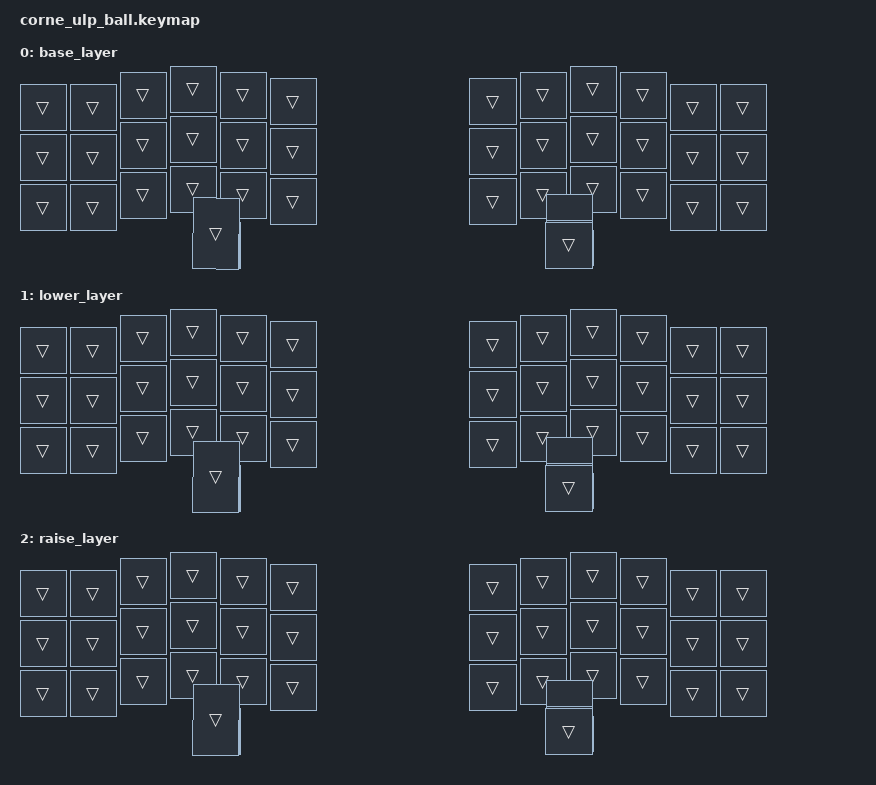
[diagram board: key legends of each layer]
// This file was generated from a template. Edit it to match your keyboard.
// See https://zmk.dev/docs/development/hardware-integration/new-shield for more instructions.

#include <behaviors.dtsi>
#include <dt-bindings/zmk/keys.h>
#include <dt-bindings/zmk/bt.h>

/ {
    // Define a default keymap here.
    // See https://zmk.dev/docs/development/hardware-integration/new-shield#default-keymap.
    keymap {
        compatible = "zmk,keymap";

        base_layer {
            //base-name = "Base";
// -----------------------------------------------------------------------------------------
// |  TAB |  Q  |  W  |  E  |  R  |  T  |   |  Y  |  U   |  I  |  O  |  P  | BSPC |
// | CTRL |  A  |  S  |  D  |  F  |  G  |   |  H  |  J   |  K  |  L  |  ;  |  '   |
// | SHFT |  Z  |  X  |  C  |  V  |  B  |   |  N  |  M   |  ,  |  .  |  /  | SHFT |
//                    | ALT | GUI | SPC/LOW |   | ENT | GUI  | ALT |
            bindings = <
                &trans &trans &trans &trans &trans &trans &trans &trans &trans &trans &trans &trans
                &trans &trans &trans &trans &trans &trans &trans &trans &trans &trans &trans &trans
                &trans &trans &trans &trans &trans &trans &trans &trans &trans &trans &trans &trans
                &trans &trans &trans &trans &trans &trans
            >;
        };
        lower_layer {
            //display-name = "Lower";
// -----------------------------------------------------------------------------------------
// |  TAB |  1  |  2  |  3  |  4  |  5  |   |  6  |  7  |  8  |  9  |  0  | EJECT |
// | BTCLR| BT1 | BT2 | BT3 | BT4 | BT5 |   | LFT | DWN |  UP | RGT |     |     |
// | SHFT |     |     |     |     |     |   |     |     |     |     |     |     |
//                    | GUI |     | SPC |   | ENT |     | ALT |
            bindings = <
                &trans &trans &trans &trans &trans &trans &trans &trans &trans &trans &trans &trans
                &trans &trans &trans &trans &trans &trans &trans &trans &trans &trans &trans &trans
                &trans &trans &trans &trans &trans &trans &trans &trans &trans &trans &trans &trans
                &trans &trans &trans &trans &trans &trans
            >;
        };

        raise_layer {
            //display-name = "Raise";
// -----------------------------------------------------------------------------------------
// |  TAB |  !  |  @  |  #  |  $  |  %  |   |  ^  |  &  |  *  |  (  |  )  | DEL |
// | CTRL |     |     |     |     |     |   |  -  |  =  |  [  |  ]  |  \  |   `   |
// | SHFT |     |     |     |     |     |   |  _  |  +  |  {  |  }  | "|" |   ~   |
//                    | GUI |     | SPC |   | ENT |     | ALT |
            bindings = <
                &trans &trans &trans &trans &trans &trans &trans &trans &trans &trans &trans &trans
                &trans &trans &trans &trans &trans &trans &trans &trans &trans &trans &trans &trans
                &trans &trans &trans &trans &trans &trans &trans &trans &trans &trans &trans &trans
                &trans &trans &trans &trans &trans &trans
            >;
        };
    };
};
